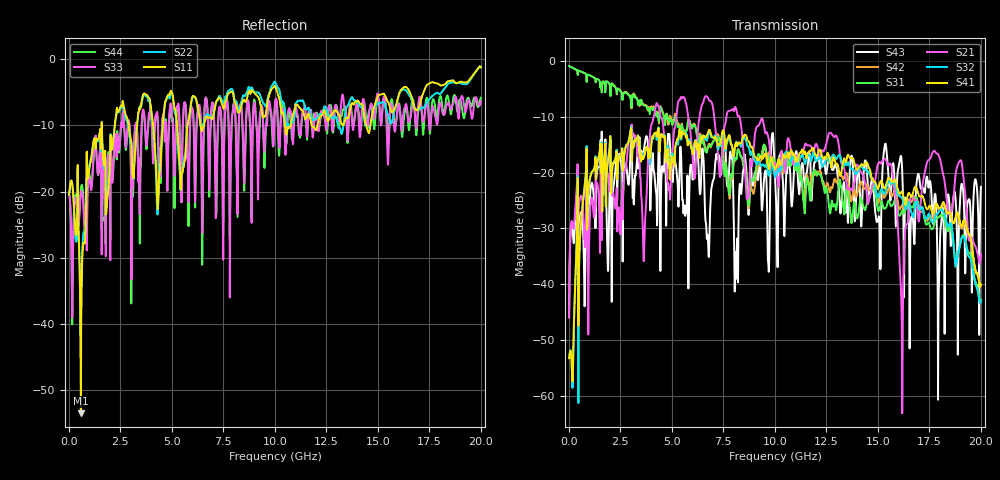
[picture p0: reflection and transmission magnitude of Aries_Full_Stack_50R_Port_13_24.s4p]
! Created Thu Apr  9 20:51:18 2026
# hz S ma R 50
! Port[1] TermG1
! Port[2] TermG2
! Port[3] TermG3
! Port[4] TermG4
! 4 Port Network Data from SP1.SP block
! freq  magS11  angS11  magS12  angS12  magS13  angS13  magS14  angS14
!  magS21  angS21  magS22  angS22  magS23  angS23  magS24  angS24
!  magS31  angS31  magS32  angS32  magS33  angS33  magS34  angS34
!  magS41  angS41  magS42  angS42  magS43  angS43  magS44  angS44
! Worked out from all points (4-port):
!   2000 points, 10 MHz to 20 GHz, reference 50 ohm
!   strongest paths, dB at 10 MHz, 5.01 GHz, 10.01 GHz, 15.01 GHz, 20 GHz:
!     S41: -53.3, -17.1, -19.3, -22.9, -40.1
!     S32: -53.3, -16.6, -20.8, -24.4, -43.1
!     S21: -46.0, -17.7, -18.2, -18.4, -34.6
!     S31: -0.9, -11.4, -18.3, -26.8, -42.8
!     S42: -0.9, -11.3, -18.6, -25.5, -40.2
!     S43: -45.9, -18.3, -20.7, -28.5, -22.5
!   lowest |S11| = -53.5 dB at 580 MHz (marker M1), VSWR 1.00, Z = 50.2 - j0.111 ohm
!   |S11| at or under -10 dB: start of sweep to 1.586 GHz; 1.601 GHz to 2.226 GHz (625.7 MHz wide, 32.7 % of centre); 5.25 GHz to 5.757 GHz (507 MHz wide, 9.21 % of centre)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
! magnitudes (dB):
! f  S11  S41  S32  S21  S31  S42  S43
! 10 MHz  -20.5  -53.3  -53.3  -46.0  -0.9  -0.9  -45.9
! 580 MHz  -53.5  -29.4  -29.2  -24.1  -1.8  -1.9  -27.1
! 2.56 GHz  -7.0  -16.7  -16.6  -25.3  -5.7  -5.6  -19.0
! 6.67 GHz  -8.7  -13.6  -14.1  -6.2  -16.3  -16.0  -29.8
! 16.15 GHz  -4.6  -23.4  -24.5  -45.4  -27.0  -25.9  -17.7
! 17.71 GHz  -3.5  -27.2  -28.7  -16.1  -29.6  -27.6  -27.2
! 20 GHz  -1.2  -40.1  -43.1  -34.6  -42.8  -40.2  -22.5
